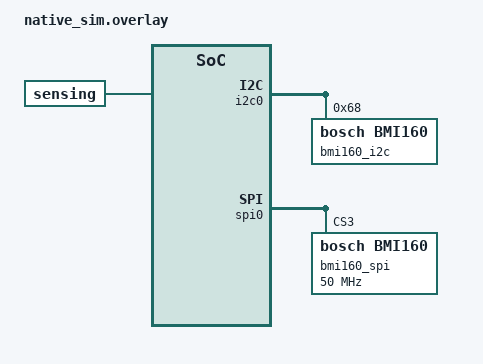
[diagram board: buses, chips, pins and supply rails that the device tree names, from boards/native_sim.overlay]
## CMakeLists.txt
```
# SPDX-License-Identifier: Apache-2.0

cmake_minimum_required(VERSION 3.20.0)
find_package(Zephyr REQUIRED HINTS $ENV{ZEPHYR_BASE})
project(test_sensing)

FILE(GLOB app_sources src/*.c)
target_sources(app PRIVATE ${app_sources})
```

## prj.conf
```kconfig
CONFIG_TEST=y
CONFIG_ZTEST=y
CONFIG_LOG=y
CONFIG_EMUL=y
```

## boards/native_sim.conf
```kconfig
#Enable BMI160 and BMI160 Emulator
CONFIG_BMI160_TRIGGER_NONE=y
CONFIG_EMUL_BMI160=y
CONFIG_SENSOR=y
CONFIG_SENSOR_INFO=y
```

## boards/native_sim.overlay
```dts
/*
 * Copyright (c) 2024 Intel Corporation
 *
 * SPDX-License-Identifier: Apache-2.0
 */

#include <zephyr/sensing/sensing_sensor_types.h>

&i2c0 {
	bmi160_i2c: bmi@68 {
		compatible = "bosch,bmi160";
		reg = <0x68>;
	};
};

&spi0 {
	bmi160_spi: bmi@3 {
		compatible = "bosch,bmi160";
		spi-max-frequency = <50000000>;
		reg = <0x3>;
	};
};

/ {
	sensing: sensing-node {
		compatible = "zephyr,sensing";
		status = "okay";

		base_accel_gyro: base-accel-gyro {
			compatible = "zephyr,sensing-phy-3d-sensor";
			status = "okay";
			sensor-types = <SENSING_SENSOR_TYPE_MOTION_ACCELEROMETER_3D SENSING_SENSOR_TYPE_MOTION_GYROMETER_3D>;
			friendly-name = "Base Accel Gyro Sensor";
			minimal-interval = <625>;
			underlying-device = <&bmi160_i2c>;
		};

		lid_accel_gyro: lid-accel-gyro {
			compatible = "zephyr,sensing-phy-3d-sensor";
			status = "okay";
			sensor-types = <SENSING_SENSOR_TYPE_MOTION_ACCELEROMETER_3D SENSING_SENSOR_TYPE_MOTION_GYROMETER_3D>;
			friendly-name = "Lid Accel Gyro Sensor";
			minimal-interval = <625>;
			underlying-device = <&bmi160_spi>;
		};

		hinge_angle: hinge-angle {
			compatible = "zephyr,sensing-hinge-angle";
			status = "okay";
			sensor-types = <SENSING_SENSOR_TYPE_MOTION_HINGE_ANGLE>;
			friendly-name = "Hinge Angle Sensor";
			reporters = <&base_accel_gyro &lid_accel_gyro>;
			reporters-index = <0 0>;
			minimal-interval = <100000>;
			stream-mode;
		};
	};
};
```

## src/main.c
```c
/*
 * Copyright (c) 2024 Intel Corporation
 *
 * SPDX-License-Identifier: Apache-2.0
 */

#include <zephyr/device.h>
#include <zephyr/devicetree.h>
#include <zephyr/ztest.h>
#include <zephyr/sensing/sensing.h>
#include <zephyr/sensing/sensing_sensor.h>

#define DT_DRV_COMPAT	zephyr_sensing
#define MAX_SENSOR_TYPES 2
#define DT_SENSOR_INFO(node)		\
	{				\
		.name = DT_NODE_FULL_NAME(node),	\
		.friendly_name = DT_PROP(node, friendly_name), \
		.sensor_types = DT_PROP(node, sensor_types), \
		.sensor_type_count = DT_PROP_LEN(node, sensor_types), \
	}

struct sensor_info_t {
	const char *name;
	const char *friendly_name;
	const int sensor_types[MAX_SENSOR_TYPES];
	int sensor_type_count;
};

static const struct sensor_info_t sensors[] = {
	DT_FOREACH_CHILD_STATUS_OKAY_SEP(DT_DRV_INST(0), DT_SENSOR_INFO, (,))
};

static int get_total_sensor_counts(void)
{
	int total = 0;

	for (int i = 0; i < ARRAY_SIZE(sensors); i++) {
		total += sensors[i].sensor_type_count;
	}
	return total;
}

static bool check_sensor_type(const struct sensing_sensor_info *info,
			      const struct sensor_info_t *sensor)
{
	for (int i = 0; i < sensor->sensor_type_count; ++i) {
		if (info->type == sensor->sensor_types[i]) {
			return true;
		}
	}
	return false;
}

/**
 * @brief Test Get Sensors
 *
 * This test verifies sensing_get_sensors.
 */
ZTEST(sensing_tests, test_sensing_get_sensors)
{
	const struct sensing_sensor_info *info;
	int ret, total_sensor_counts = get_total_sensor_counts();
	int num = total_sensor_counts;

	ret = sensing_get_sensors(&num, &info);
	zassert_equal(ret, 0, "Sensing Get Sensors failed");
	zassert_equal(num, total_sensor_counts, "Expected %d sensors, but got %d",
		      total_sensor_counts, num);
	zassert_not_null(info, "Expected sensor info to be not null");

	for (int i = 0; i < num; ++i) {
		bool found = false;

		for (int j = 0; j < ARRAY_SIZE(sensors); ++j) {
			if (strcmp(info[i].name, sensors[j].name) == 0) {
				zassert_true(strcmp(info[i].friendly_name,
						    sensors[j].friendly_name) == 0,
					     "Mismatch in friendly name for sensor '%s'",
					     info[i].name);
				zassert_true(check_sensor_type(&info[i], &sensors[j]),
					     "Mismatch in sensor type for sensor '%s'",
					     info[i].name);
				found = true;
				break;
			}
		}
		zassert_true(found, "Sensor '%s' not found", info[i].name);
	}
}

ZTEST_SUITE(sensing_tests, NULL, NULL, NULL, NULL, NULL);
```
